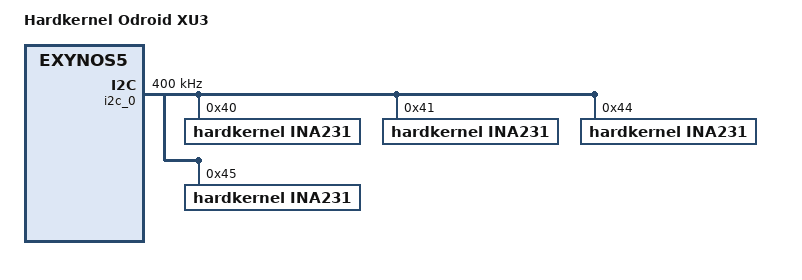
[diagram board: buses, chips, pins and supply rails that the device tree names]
/*
 * Hardkernel Odroid XU3 board device tree source
 *
 * Copyright (c) 2014 Collabora Ltd.
 * Copyright (c) 2013 Samsung Electronics Co., Ltd.
 *		http://www.samsung.com
 *
 * This program is free software; you can redistribute it and/or modify
 * it under the terms of the GNU General Public License version 2 as
 * published by the Free Software Foundation.
*/

/dts-v1/;
#include "exynos5422-odroidxu3-common.dtsi"

/ {
	model = "Hardkernel Odroid XU3";
	compatible = "hardkernel,odroid-xu3", "samsung,exynos5800", "samsung,exynos5";
};

&i2c_0 {
	status = "okay";
        clock-frequency = <400000>;
        ina231@40  {
                compatible = "hardkernel,INA231";
                reg = <0x40>;
                sensor-name = "sensor_arm";
                enable = <0>;
                max_A = <9>;
                shunt_R_mohm = <10>;
                config = <0x45FF>;
                update_period = <263808>;
        };
        ina231@41  {
                compatible = "hardkernel,INA231";
                reg = <0x41>;
                sensor-name = "sensor_mem";
                enable = <0>;
                max_A = <3>;
                shunt_R_mohm = <10>;
                config = <0x45FF>;
                update_period = <263808>;
        };
        ina231@44  {
                compatible = "hardkernel,INA231";
                reg = <0x44>;
                sensor-name = "sensor_g3d";
                enable = <0>;
                max_A = <5>;
                shunt_R_mohm = <10>;
                config = <0x45FF>;
                update_period = <263808>;
        };
        ina231@45  {
                compatible = "hardkernel,INA231";
                reg = <0x45>;
                sensor-name = "sensor_kfc";
                enable = <0>;
                max_A = <2>;
                shunt_R_mohm = <10>;
                config = <0x45FF>;
                update_period = <263808>;
        };

        
// 	/* A15 cluster: VDD_ARM */
// 	ina231@40 {
// 		compatible = "ti,ina231";
// 		reg = <0x40>;
// 		shunt-resistor = <10000>;
// 	};
// 
// 	/* memory: VDD_MEM */
// 	ina231@41 {
// 		compatible = "ti,ina231";
// 		reg = <0x41>;
// 		shunt-resistor = <10000>;
// 	};
// 
// 	/* GPU: VDD_G3D */
// 	ina231@44 {
// 		compatible = "ti,ina231";
// 		reg = <0x44>;
// 		shunt-resistor = <10000>;
// 	};
// 
// 	/* A7 cluster: VDD_KFC */
// 	ina231@45 {
// 		compatible = "ti,ina231";
// 		reg = <0x45>;
// 		shunt-resistor = <10000>;
// 	};
};
